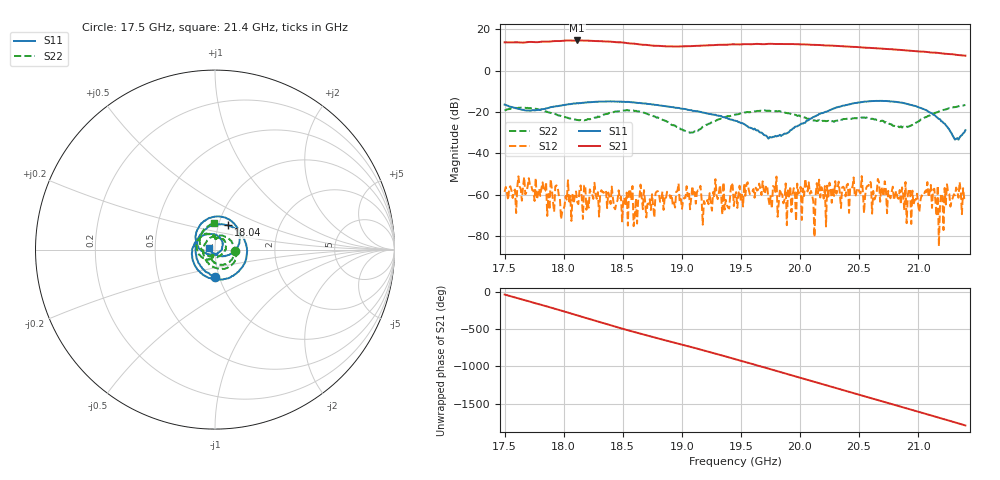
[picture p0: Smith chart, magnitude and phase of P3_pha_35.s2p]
!Created with skrf (http://scikit-rf.org).
# GHz S RI R 50.0
!freq ReS11 ImS11 ReS21 ImS21 ReS12 ImS12 ReS22 ImS22
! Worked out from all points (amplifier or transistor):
!   401 points, 17.5 GHz to 21.4 GHz, reference 50 ohm
!   highest |S21| = 14.7 dB at 18.11 GHz (marker M1)
!   |S21| within 3 dB of that: start of sweep to 20.41 GHz
!   unconditionally stable (mu >= 1): start of sweep to end of sweep
!   at 18.14 GHz: K = 53.35, MAG = 14.8 dB, |S12| = -55.5 dB
!   at 19.45 GHz: K = 119.76, MAG = 12.9 dB, |S12| = -60.5 dB
!   at 21.4 GHz: K = 283.33, MAG = 7.4 dB, |S12| = -62.6 dB
!   S11 on the Smith chart (normalised r, x): 17.5 GHz: 0.96, -0.30; 18.04 GHz: 1.11, +0.31; 21.4 GHz: 0.93, +0.01
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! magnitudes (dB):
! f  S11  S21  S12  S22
! 17.5 GHz  -16.4  13.8  -58.7  -19.2
! 17.95 GHz  -17.2  14.4  -56.2  -21.5
! 17.99 GHz  -16.7  14.5  -68.3  -22.1
! 18.04 GHz  -16.3  14.7  -53.0  -22.8
! 18.11 GHz  -15.6  14.7  -63.6  -23.9
! 18.15 GHz  -15.6  14.6  -61.7  -23.9
! 18.57 GHz  -15.2  13.2  -62.7  -19.2
! 18.61 GHz  -15.4  13.0  -61.9  -19.4
! 18.66 GHz  -15.7  12.6  -61.0  -20.1
! 18.72 GHz  -16.1  12.4  -64.4  -21.1
! 18.81 GHz  -16.7  12.1  -59.9  -23.1
! 19.08 GHz  -19.1  11.9  -61.5  -29.9
! 19.45 GHz  -24.2  12.8  -60.5  -21.2
! 19.75 GHz  -32.2  13.1  -60.7  -19.5
! 20.06 GHz  -24.1  12.7  -58.5  -23.3
! 20.1 GHz  -22.7  12.6  -60.4  -24.0
! 20.16 GHz  -20.9  12.5  -52.7  -23.9
! 20.76 GHz  -14.8  10.5  -60.6  -25.7
! 21.09 GHz  -19.9  9.0  -61.2  -21.8
! 21.2 GHz  -24.5  8.5  -59.5  -19.4
! 21.24 GHz  -27.0  8.2  -55.0  -18.6
! 21.4 GHz  -28.8  7.3  -62.6  -16.6
